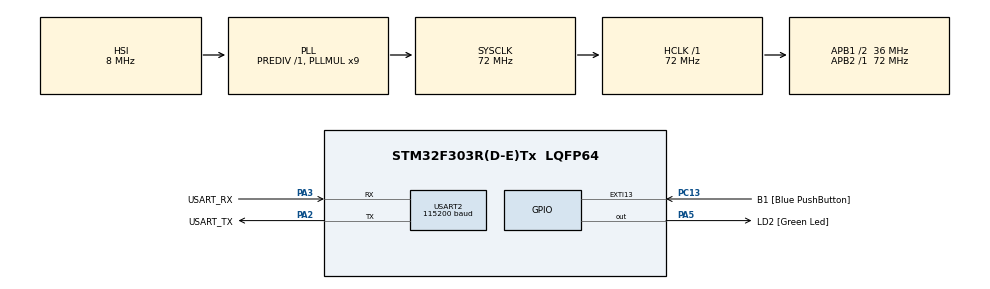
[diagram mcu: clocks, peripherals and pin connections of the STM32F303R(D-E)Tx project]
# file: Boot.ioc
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Dma.Request0=USART2_RX
Dma.USART2_RX.0.Direction=DMA_PERIPH_TO_MEMORY
Dma.USART2_RX.0.Instance=DMA1_Channel6
Dma.USART2_RX.0.MemDataAlignment=DMA_MDATAALIGN_BYTE
Dma.USART2_RX.0.MemInc=DMA_MINC_ENABLE
Dma.USART2_RX.0.Mode=DMA_NORMAL
Dma.USART2_RX.0.PeriphDataAlignment=DMA_PDATAALIGN_BYTE
Dma.USART2_RX.0.PeriphInc=DMA_PINC_DISABLE
Dma.USART2_RX.0.Priority=DMA_PRIORITY_LOW
Mcu.Family=STM32F3
Mcu.Name=STM32F303R(D-E)Tx
Mcu.Package=LQFP64
NVIC.DMA1_Channel6_IRQn=true\:0\:0\:false\:false\:true\:false\:true\:true
NVIC.EXTI15_10_IRQn=true\:0\:0\:false\:false\:true\:true\:true\:true
NVIC.PriorityGroup=NVIC_PRIORITYGROUP_0
NVIC.USART2_IRQn=true\:0\:0\:false\:false\:true\:true\:true\:true
PA13.GPIO_Label=TMS
PA13.Mode=Serial_Wire
PA13.Signal=SYS_JTMS-SWDIO
PA14.GPIO_Label=TCK
PA14.Mode=Serial_Wire
PA14.Signal=SYS_JTCK-SWCLK
PA2.GPIO_Label=USART_TX
PA2.GPIO_Mode=GPIO_MODE_AF_PP
PA2.GPIO_PuPd=GPIO_NOPULL
PA2.GPIO_Speed=GPIO_SPEED_FREQ_LOW
PA2.Mode=Asynchronous
PA2.Signal=USART2_TX
PA3.GPIO_Label=USART_RX
PA3.GPIO_Mode=GPIO_MODE_AF_PP
PA3.GPIO_PuPd=GPIO_NOPULL
PA3.GPIO_Speed=GPIO_SPEED_FREQ_LOW
PA3.Mode=Asynchronous
PA3.Signal=USART2_RX
PA5.GPIO_Label=LD2 [Green Led]
PA5.GPIO_Mode=GPIO_MODE_OUTPUT_PP
PA5.GPIO_PuPd=GPIO_NOPULL
PA5.GPIO_Speed=GPIO_SPEED_FREQ_LOW
PA5.Signal=GPIO_Output
PB3.GPIO_Label=SWO
PB3.Signal=SYS_JTDO-TRACESWO
PC13.GPIO_Label=B1 [Blue PushButton]
PC13.GPIO_ModeDefaultEXTI=GPIO_MODE_IT_FALLING
PC13.Signal=GPXTI13
PC14-OSC32_IN.Mode=LSE-External-Oscillator
PC14-OSC32_IN.Signal=RCC_OSC32_IN
PC15-OSC32_OUT.Mode=LSE-External-Oscillator
PC15-OSC32_OUT.Signal=RCC_OSC32_OUT
PF0-OSC_IN.Mode=HSE-External-Clock-Source
PF0-OSC_IN.Signal=RCC_OSC_IN
PF1-OSC_OUT.Signal=RCC_OSC_OUT
ProjectManager.HeapSize=0x200
ProjectManager.StackSize=0x400
ProjectManager.TargetToolchain=STM32CubeIDE
RCC.AHBFreq_Value=72000000
RCC.APB1CLKDivider=RCC_HCLK_DIV2
RCC.APB1Freq_Value=36000000
RCC.APB1TimFreq_Value=72000000
RCC.APB2Freq_Value=72000000
RCC.APB2TimFreq_Value=72000000
RCC.CortexFreq_Value=72000000
RCC.HCLKFreq_Value=72000000
RCC.HSE_VALUE=8000000
RCC.HSI_VALUE=8000000
RCC.PLLM=8
RCC.PLLMUL=RCC_PLL_MUL9
RCC.PLLN=336
RCC.PLLP=RCC_PLLP_DIV4
RCC.PLLQ=7
RCC.RCC_PLLsource_Clock_Source_FROM_HSE=RCC_HSE_PREDIV_DIV2
RCC.SYSCLKFreq_VALUE=72000000
RCC.SYSCLKSourceVirtual=RCC_SYSCLKSOURCE_PLLCLK
RCC.USBFreq_Value=72000000
USART2.BaudRate=115200
USART2.VirtualMode-Asynchronous=VM_ASYNC
board=NUCLEO-F303RE

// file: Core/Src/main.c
/* USER CODE BEGIN Header */
/**
  ******************************************************************************
  * @file           : main.c
  * @brief          : Main program body
  ******************************************************************************
  * @attention
  *
  * Copyright (c) 2024 STMicroelectronics.
  * All rights reserved.
  *
  * This software is licensed under terms that can be found in the LICENSE file
  * in the root directory of this software component.
  * If no LICENSE file comes with this software, it is provided AS-IS.
  *
  ******************************************************************************
  */
/* USER CODE END Header */
#include "main.h"
#include "dma.h"
#include "usart.h"
#include "gpio.h"

/* USER CODE BEGIN Includes */
#include <string.h>
#include "circularBuffer.h"
#include "flash.h"
#include "scheduler.h"
#include "serial.h"
#include "led.h"
#include "cmdhandler.h"
#include "fwUpgrade.h"
#include <stdio.h>
#include "systemRestart.h"
#include "eeprom.h"
/* USER CODE END Includes */

void SystemClock_Config(void);
/* USER CODE BEGIN PFP */
void SystemClock_DeInit(void);
/* USER CODE END PFP */

/* USER CODE BEGIN 0 */

int _write(int file, char *ptr, int len)
{
  (void)file;
  int DataIdx;

  for (DataIdx = 0; DataIdx < len; DataIdx++)
  {
    ITM_SendChar(*ptr++);
  }
  return len;
}

void HAL_GPIO_EXTI_Callback(uint16_t GPIO_Pin)
{
	if ( GPIO_Pin == B1_Pin )
	{
		/*
		 *  When jumping to application directly from here, interrupts in application do not work.
		 *  This might be due to incorrect de-initialization of peripherals.
		 *  A work around can be to save a flag in flash that tells us it time to jump, perform a
		 *  system restart and jump to application first in main before initializing any peripherals.
		 * */
		systemRestart_setFlag( GO_APP );
		systemRestart_restart();

	}
}

/* USER CODE END 0 */

int main(void)
{
  /* USER CODE BEGIN 1 */
	eeprom_init();
	// check if we should stay in boot or jump to app.

	uint32_t flag = 0;
	systemRestart_getFlag( &flag );
	if( flag == GO_APP )
	{
		// verify application before jump
		if( 0 == fwUpgrade_verifyApp()  )
		{
			// jump.
			systemRestart_jumpToApp();
		}

	}

  /* USER CODE END 1 */

  /* MCU Configuration--------------------------------------------------------*/

  /* Reset of all peripherals, Initializes the Flash interface and the Systick. */
  HAL_Init();

  /* Configure the system clock */
  SystemClock_Config();

  /* Initialize all configured peripherals */
  MX_GPIO_Init();
  MX_DMA_Init();
  MX_USART2_UART_Init();
  /* USER CODE BEGIN 2 */

  // initiate command handler first to be ready to register other modules.
  cmdhandler_init( &huart2 );	// make sure cmdhandler is initialized before initializing other modules that want to register with it.
  fwUpgrade_init();
  led_init();
  flash_init();

  scheduler_init();
  scheduler_addTask( 1000, led_run );
  scheduler_run();

  /* USER CODE END 2 */

  /* Infinite loop */
  while (1)
  {

  }
}

void SystemClock_Config(void)
{
  RCC_OscInitTypeDef RCC_OscInitStruct = {0};
  RCC_ClkInitTypeDef RCC_ClkInitStruct = {0};
  RCC_PeriphCLKInitTypeDef PeriphClkInit = {0};

  /** Initializes the RCC Oscillators according to the specified parameters
  * in the RCC_OscInitTypeDef structure.
  */
  RCC_OscInitStruct.OscillatorType = RCC_OSCILLATORTYPE_HSI;
  RCC_OscInitStruct.HSIState = RCC_HSI_ON;
  RCC_OscInitStruct.HSICalibrationValue = RCC_HSICALIBRATION_DEFAULT;
  RCC_OscInitStruct.PLL.PLLState = RCC_PLL_ON;
  RCC_OscInitStruct.PLL.PLLSource = RCC_PLLSOURCE_HSI;
  RCC_OscInitStruct.PLL.PLLMUL = RCC_PLL_MUL9;
  RCC_OscInitStruct.PLL.PREDIV = RCC_PREDIV_DIV1;
  if (HAL_RCC_OscConfig(&RCC_OscInitStruct) != HAL_OK)
  {
    Error_Handler();
  }

  /** Initializes the CPU, AHB and APB buses clocks
  */
  RCC_ClkInitStruct.ClockType = RCC_CLOCKTYPE_HCLK|RCC_CLOCKTYPE_SYSCLK
                              |RCC_CLOCKTYPE_PCLK1|RCC_CLOCKTYPE_PCLK2;
  RCC_ClkInitStruct.SYSCLKSource = RCC_SYSCLKSOURCE_PLLCLK;
  RCC_ClkInitStruct.AHBCLKDivider = RCC_SYSCLK_DIV1;
  RCC_ClkInitStruct.APB1CLKDivider = RCC_HCLK_DIV2;
  RCC_ClkInitStruct.APB2CLKDivider = RCC_HCLK_DIV1;

  if (HAL_RCC_ClockConfig(&RCC_ClkInitStruct, FLASH_LATENCY_2) != HAL_OK)
  {
    Error_Handler();
  }
  PeriphClkInit.PeriphClockSelection = RCC_PERIPHCLK_USART2;
  PeriphClkInit.Usart2ClockSelection = RCC_USART2CLKSOURCE_PCLK1;
  if (HAL_RCCEx_PeriphCLKConfig(&PeriphClkInit) != HAL_OK)
  {
    Error_Handler();
  }
}

/* USER CODE BEGIN 4 */
void SystemClock_DeInit(void)
{
  RCC_OscInitTypeDef RCC_OscInitStruct = {0};
  RCC_ClkInitTypeDef RCC_ClkInitStruct = {0};
  RCC_PeriphCLKInitTypeDef PeriphClkInit = {0};

  /* Reset the RCC configuration to default */
  HAL_RCC_DeInit();

  /* Reconfigure the system clock as required by your application */
  RCC_OscInitStruct.OscillatorType = RCC_OSCILLATORTYPE_HSI;
  RCC_OscInitStruct.HSIState = RCC_HSI_ON;
  RCC_OscInitStruct.HSICalibrationValue = RCC_HSICALIBRATION_DEFAULT;
  RCC_OscInitStruct.PLL.PLLState = RCC_PLL_ON;
  RCC_OscInitStruct.PLL.PLLSource = RCC_PLLSOURCE_HSI;
  RCC_OscInitStruct.PLL.PLLMUL = RCC_PLL_MUL9;
  RCC_OscInitStruct.PLL.PREDIV = RCC_PREDIV_DIV1;
  if (HAL_RCC_OscConfig(&RCC_OscInitStruct) != HAL_OK)
  {
	Error_Handler();
  }

  RCC_ClkInitStruct.ClockType = RCC_CLOCKTYPE_HCLK|RCC_CLOCKTYPE_SYSCLK
								|RCC_CLOCKTYPE_PCLK1|RCC_CLOCKTYPE_PCLK2;
  RCC_ClkInitStruct.SYSCLKSource = RCC_SYSCLKSOURCE_PLLCLK;
  RCC_ClkInitStruct.AHBCLKDivider = RCC_SYSCLK_DIV1;
  RCC_ClkInitStruct.APB1CLKDivider = RCC_HCLK_DIV2;
  RCC_ClkInitStruct.APB2CLKDivider = RCC_HCLK_DIV1;

  if (HAL_RCC_ClockConfig(&RCC_ClkInitStruct, FLASH_LATENCY_2) != HAL_OK)
  {
	Error_Handler();
  }

  PeriphClkInit.PeriphClockSelection = RCC_PERIPHCLK_USART2;
  PeriphClkInit.Usart2ClockSelection = RCC_USART2CLKSOURCE_PCLK1;
  if (HAL_RCCEx_PeriphCLKConfig(&PeriphClkInit) != HAL_OK)
  {
	Error_Handler();
  }
}
/* USER CODE END 4 */

void Error_Handler(void)
{
  __disable_irq();
  while (1)
  {
  }
}
